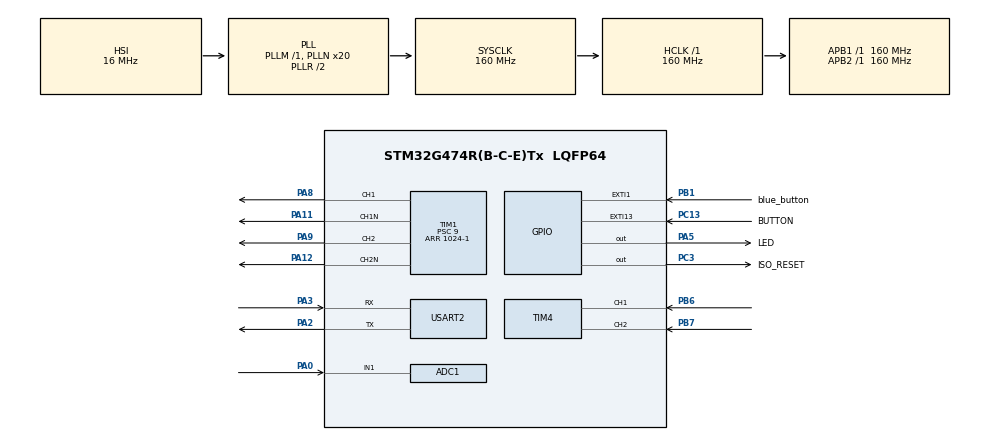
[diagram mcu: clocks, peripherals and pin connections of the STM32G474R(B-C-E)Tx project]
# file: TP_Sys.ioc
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ADC1.Channel-0\#ChannelRegularConversion=ADC_CHANNEL_1
ADC1.DMAContinuousRequests=ENABLE
ADC1.ExternalTrigConv=ADC_EXTERNALTRIG_T1_TRGO
ADC1.NbrOfConversionFlag=1
ADC1.OffsetNumber-0\#ChannelRegularConversion=ADC_OFFSET_NONE
ADC1.Rank-0\#ChannelRegularConversion=1
ADC1.SamplingTime-0\#ChannelRegularConversion=ADC_SAMPLETIME_92CYCLES_5
ADC1.master=1
Dma.ADC1.0.Direction=DMA_PERIPH_TO_MEMORY
Dma.ADC1.0.EventEnable=DISABLE
Dma.ADC1.0.Instance=DMA1_Channel1
Dma.ADC1.0.MemDataAlignment=DMA_MDATAALIGN_HALFWORD
Dma.ADC1.0.MemInc=DMA_MINC_ENABLE
Dma.ADC1.0.Mode=DMA_CIRCULAR
Dma.ADC1.0.PeriphDataAlignment=DMA_PDATAALIGN_HALFWORD
Dma.ADC1.0.PeriphInc=DMA_PINC_DISABLE
Dma.ADC1.0.Polarity=HAL_DMAMUX_REQ_GEN_RISING
Dma.ADC1.0.Priority=DMA_PRIORITY_LOW
Dma.ADC1.0.RequestNumber=1
Dma.ADC1.0.SignalID=NONE
Dma.ADC1.0.SyncEnable=DISABLE
Dma.ADC1.0.SyncPolarity=HAL_DMAMUX_SYNC_NO_EVENT
Dma.ADC1.0.SyncRequestNumber=1
Dma.ADC1.0.SyncSignalID=NONE
Dma.Request0=ADC1
Mcu.Family=STM32G4
Mcu.Name=STM32G474R(B-C-E)Tx
Mcu.Package=LQFP64
NVIC.DMA1_Channel1_IRQn=true\:0\:0\:false\:false\:true\:false\:true\:true
NVIC.EXTI15_10_IRQn=true\:0\:0\:false\:false\:true\:true\:true\:true
NVIC.EXTI1_IRQn=true\:0\:0\:false\:false\:true\:true\:true\:true
NVIC.PriorityGroup=NVIC_PRIORITYGROUP_4
NVIC.TIM1_UP_TIM16_IRQn=true\:0\:0\:false\:false\:true\:true\:true\:true
NVIC.TIM3_IRQn=true\:0\:0\:false\:false\:true\:true\:true\:true
NVIC.USART2_IRQn=true\:0\:0\:false\:false\:true\:true\:true\:true
PA0.Mode=IN1-Single-Ended
PA0.Signal=ADC1_IN1
PA11.Mode=PWM Generation1 CH1 CH1N
PA11.Signal=TIM1_CH1N
PA12.Mode=PWM Generation2 CH2 CH2N
PA12.Signal=TIM1_CH2N
PA13.GPIO_Label=T_SWDIO
PA13.Mode=Serial_Wire
PA13.Signal=SYS_JTMS-SWDIO
PA14.GPIO_Label=T_SWCLK
PA14.Mode=Serial_Wire
PA14.Signal=SYS_JTCK-SWCLK
PA2.Mode=Asynchronous
PA2.Signal=USART2_TX
PA3.Mode=Asynchronous
PA3.Signal=USART2_RX
PA5.GPIO_Label=LED
PA5.Signal=GPIO_Output
PA8.Signal=S_TIM1_CH1
PA9.Signal=S_TIM1_CH2
PB1.GPIO_Label=blue_button
PB1.Signal=GPXTI1
PB6.Signal=S_TIM4_CH1
PB7.Signal=S_TIM4_CH2
PC13.GPIO_Label=BUTTON
PC13.Signal=GPXTI13
PC14-OSC32_IN.Mode=LSE-External-Oscillator
PC14-OSC32_IN.Signal=RCC_OSC32_IN
PC15-OSC32_OUT.Mode=LSE-External-Oscillator
PC15-OSC32_OUT.Signal=RCC_OSC32_OUT
PC3.GPIO_Label=ISO_RESET
PC3.Signal=GPIO_Output
PF0-OSC_IN.Mode=HSE-External-Oscillator
PF0-OSC_IN.Signal=RCC_OSC_IN
PF1-OSC_OUT.Mode=HSE-External-Oscillator
PF1-OSC_OUT.Signal=RCC_OSC_OUT
ProjectManager.HeapSize=0x200
ProjectManager.StackSize=0x400
ProjectManager.TargetToolchain=STM32CubeIDE
RCC.ADC12Freq_Value=160000000
RCC.ADC345Freq_Value=160000000
RCC.AHBFreq_Value=160000000
RCC.APB1Freq_Value=160000000
RCC.APB1TimFreq_Value=160000000
RCC.APB2Freq_Value=160000000
RCC.APB2TimFreq_Value=160000000
RCC.CortexFreq_Value=160000000
RCC.EXTERNAL_CLOCK_VALUE=12288000
RCC.HCLKFreq_Value=160000000
RCC.HSE_VALUE=24000000
RCC.HSI48_VALUE=48000000
RCC.HSI_VALUE=16000000
RCC.PLLN=20
RCC.RTCClockSelection=RCC_RTCCLKSOURCE_LSE
RCC.SYSCLKFreq_VALUE=160000000
RCC.SYSCLKSource=RCC_SYSCLKSOURCE_PLLCLK
RCC.USBFreq_Value=160000000
RCC.VCOOutputFreq_Value=320000000
SH.S_TIM1_CH1.0=TIM1_CH1,PWM Generation1 CH1 CH1N
SH.S_TIM1_CH2.0=TIM1_CH2,PWM Generation2 CH2 CH2N
SH.S_TIM4_CH1.0=TIM4_CH1,Encoder_Interface
SH.S_TIM4_CH2.0=TIM4_CH2,Encoder_Interface
TIM1.AutoReloadPreload=TIM_AUTORELOAD_PRELOAD_ENABLE
TIM1.Channel-PWM\ Generation1\ CH1\ CH1N=TIM_CHANNEL_1
TIM1.Channel-PWM\ Generation2\ CH2\ CH2N=TIM_CHANNEL_2
TIM1.CounterMode=TIM_COUNTERMODE_CENTERALIGNED1
TIM1.DeadTime=200
TIM1.PeriodNoDither=1024-1
TIM1.Prescaler=9
TIM1.PulseNoDither_1=512
TIM1.PulseNoDither_2=512
TIM1.TIM_MasterOutputTrigger=TIM_TRGO_UPDATE
TIM1.TIM_MasterSlaveMode=TIM_MASTERSLAVEMODE_ENABLE
TIM3.PeriodNoDither=5000-1
TIM3.Prescaler=3200-1
USART2.VirtualMode-Asynchronous=VM_ASYNC
VP_SYS_VS_DBSignals.Mode=DisableDeadBatterySignals
VP_TIM1_VS_ClockSourceINT.Mode=Internal
VP_TIM3_VS_ClockSourceINT.Mode=Internal
board=NUCLEO-G474RE

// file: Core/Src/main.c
/* USER CODE BEGIN Header */
/**
  ******************************************************************************
  * @file           : main.c
  * @brief          : Main program body
  * @author			: Clément Chapuis & Aurélien Sutra
  * @date			: Date du dernier commit&push : 03/01/2023
  ******************************************************************************
  * @attention
  *
  * Copyright (c) 2022 STMicroelectronics.
  * All rights reserved.
  *
  * This software is licensed under terms that can be found in the LICENSE file
  * in the root directory of this software component.
  * If no LICENSE file comes with this software, it is provided AS-IS.
  *
  ******************************************************************************
  */
/* USER CODE END Header */
#include "main.h"

ADC_HandleTypeDef hadc1;
DMA_HandleTypeDef hdma_adc1;

TIM_HandleTypeDef htim1;
TIM_HandleTypeDef htim3;
TIM_HandleTypeDef htim4;

UART_HandleTypeDef huart2;

/* USER CODE BEGIN PV */
uint8_t prompt[]="user@Nucleo-STM32G474>>";
uint8_t started[]=
		"\r\n*-----------------------------*"
		"\r\n| Welcome on Nucleo-STM32G474 |"
		"\r\n*-----------------------------*"
		"\r\n";
uint8_t newline[]="\r\n";
uint8_t cmdNotFound[]="Command not found\r\n";
uint32_t uartRxReceived;
uint8_t uartRxBuffer[UART_RX_BUFFER_SIZE];
uint8_t uartTxBuffer[UART_TX_BUFFER_SIZE];
uint8_t powerOn[]="Allumage du moteur\r\n";
uint8_t powerOff[]="Extinction du moteur\r\n";

uint32_t adcBuffer[ADC_BUFFER_SIZE];

//SHELL_____________________________________________________________________
	char	 	cmdBuffer[CMD_BUFFER_SIZE];
	int 		idx_cmd;
	char* 		argv[MAX_ARGS];
	int		 	argc = 0;
	char*		token;
	int 		newCmdReady = 0;
	int 		abs_speed = 50;

int adcDMAFlag = 0;
int it_tim3 = 0;
int it_tim1 = 0;

int enc = 0;
int speed = 0;
int inc = 0;
float targetcur;
char pi_buffer[256];

PIController pi = {PI_KP, PI_KI, PI_LIM_MIN, PI_LIM_MAX, PI_LIM_MIN_INT, PI_LIM_MAX_INT, SAMPLE_TIME_S};

/* USER CODE END PV */

void SystemClock_Config(void);
static void MX_GPIO_Init(void);
static void MX_DMA_Init(void);
static void MX_TIM1_Init(void);
static void MX_USART2_UART_Init(void);
static void MX_ADC1_Init(void);
static void MX_TIM3_Init(void);
static void MX_TIM4_Init(void);

/* USER CODE BEGIN 0 */

/**
  * @brief  	This function makes the initialization for the PI controller.
  * @param[in]	PIController	The structure for all the PI parameters
  * @retval 	None
*/
void newcom(void)
{
	HAL_UART_Transmit(&huart2, newline, sizeof(newline), HAL_MAX_DELAY);
	//select();
	cmdBuffer[idx_cmd] = '\0';
	argc = 0;
	token = strtok(cmdBuffer, " ");
	while(token!=NULL){
		argv[argc++] = token;
	  	token = strtok(NULL, " ");
	}

	idx_cmd = 0;
	newCmdReady = 1;
}

/**
  * @brief  	This function allows us the delete letters in the shell
  * @param[in]	None
  * @retval 	None
*/
void delete(void)
{
	cmdBuffer[idx_cmd--] = '\0';
	HAL_UART_Transmit(&huart2, uartRxBuffer, UART_RX_BUFFER_SIZE, HAL_MAX_DELAY);
}

/**
  * @brief  	This function allows us to write a new letter in the shell.
  * @param[in]	None
  * @retval 	None
*/
void new_carac(void)
{
	cmdBuffer[idx_cmd++] = uartRxBuffer[0];
	HAL_UART_Transmit(&huart2, uartRxBuffer, UART_RX_BUFFER_SIZE, HAL_MAX_DELAY);//Echo
}

/**
  * @brief  	This function writes a message in the shell in the case the command is not found.
  * @param[in]	None
  * @retval 	None
*/
void get(void)
{
	HAL_UART_Transmit(&huart2, cmdNotFound, sizeof(cmdNotFound), HAL_MAX_DELAY);
}

/**
  * @brief  	This function switch on/off the led if the user writes PA5.
  * @param[in]	None
  * @retval 	None
*/
void set(void)
{
	if(strcmp(argv[1],"PA5")==0)
	{
		HAL_GPIO_WritePin(LED_GPIO_Port, LED_Pin, atoi(argv[2]));
		sprintf((char *)uartTxBuffer,"Switch on/off led : %d\r\n",atoi(argv[2]));
		HAL_UART_Transmit(&huart2, uartTxBuffer, 32, HAL_MAX_DELAY);
	}
	else{
	  	HAL_UART_Transmit(&huart2, cmdNotFound, sizeof(cmdNotFound), HAL_MAX_DELAY);
	}
}

/**
  * @brief  	This function displays all the usable functions for the user.
  * @param[in]	None
  * @retval 	None
*/
void help(void)
{
	sprintf((char *)uartTxBuffer, "HELP : Fonctions available :\r\n");
	HAL_UART_Transmit(&huart2, uartTxBuffer, sizeof(uartTxBuffer), HAL_MAX_DELAY);
	sprintf((char *)uartTxBuffer, "- pinout : affiche toutes les broches connectées\r\n");
	HAL_UART_Transmit(&huart2, uartTxBuffer, sizeof(uartTxBuffer), HAL_MAX_DELAY);
	sprintf((char *)uartTxBuffer, "- start : allume l'étage de puissance du moteur\r\n");
	HAL_UART_Transmit(&huart2, uartTxBuffer, sizeof(uartTxBuffer), HAL_MAX_DELAY);
	sprintf((char *)uartTxBuffer, "- speed : règle la vitesse du moteur\r\n");
	HAL_UART_Transmit(&huart2, uartTxBuffer, sizeof(uartTxBuffer), HAL_MAX_DELAY);
	sprintf((char *)uartTxBuffer, "- stop : éteind l'étage de puissance du moteur\r\n");
	HAL_UART_Transmit(&huart2, uartTxBuffer, sizeof(uartTxBuffer), HAL_MAX_DELAY);
	sprintf((char *)uartTxBuffer, "- current : valeur du courant en ampère pour l'asser\r\n");
	HAL_UART_Transmit(&huart2, uartTxBuffer, sizeof(uartTxBuffer), HAL_MAX_DELAY);
}

/**
  * @brief  	This function shows all the connections for the pinouts.
  * @param[in]	None
  * @retval 	None
*/
void pinout(void)
{
	sprintf((char *)uartTxBuffer, "Les broches connectées sont les suivantes :\r\n");
	HAL_UART_Transmit(&huart2, uartTxBuffer, sizeof(uartTxBuffer), HAL_MAX_DELAY);
	sprintf((char *)uartTxBuffer, "- TIM1_CH2N : PA12 / CN10-12 -> PIN12\r\n");
	HAL_UART_Transmit(&huart2, uartTxBuffer, sizeof(uartTxBuffer), HAL_MAX_DELAY);
	sprintf((char *)uartTxBuffer, "- TIM1_CH1N : PA11 / CN10-14 -> PIN13\r\n");
	HAL_UART_Transmit(&huart2, uartTxBuffer, sizeof(uartTxBuffer), HAL_MAX_DELAY);
	sprintf((char *)uartTxBuffer, "- TIM1_CH2 : PA9 / CN9-21 -> PIN30\r\n");
	HAL_UART_Transmit(&huart2, uartTxBuffer, sizeof(uartTxBuffer), HAL_MAX_DELAY);
	sprintf((char *)uartTxBuffer, "- TIM1_CH1 : PA8 / CN9-23 -> PIN31\r\n");
	HAL_UART_Transmit(&huart2, uartTxBuffer, sizeof(uartTxBuffer), HAL_MAX_DELAY);
	sprintf((char *)uartTxBuffer, "- ISO_Reset : PC3 / CN7-37 -> PIN33\r\n");
	HAL_UART_Transmit(&huart2, uartTxBuffer, sizeof(uartTxBuffer), HAL_MAX_DELAY);
	sprintf((char *)uartTxBuffer, "- ADC1_IN1 : PA0 / CN8-1 -> PIN16\r\n");
	HAL_UART_Transmit(&huart2, uartTxBuffer, sizeof(uartTxBuffer), HAL_MAX_DELAY);
	sprintf((char *)uartTxBuffer, "- TIM4_CH1 : PB8 / CN5-10 -> PINA\r\n");
	HAL_UART_Transmit(&huart2, uartTxBuffer, sizeof(uartTxBuffer), HAL_MAX_DELAY);
	sprintf((char *)uartTxBuffer, "- TIM4_CH2 : PB7 / CN7-21 -> PINB\r\n");
	HAL_UART_Transmit(&huart2, uartTxBuffer, sizeof(uartTxBuffer), HAL_MAX_DELAY);
}

/**
  * @brief  	This function makes the initialization for the chopper, the PWM for the motor and the initialization for the encoder.
  * @param[in]	None
  * @retval 	None
*/
void start(void)
{
	//séquence d'initialisation
	HAL_GPIO_WritePin(ISO_RESET_GPIO_Port, ISO_RESET_Pin, SET);
	HAL_Delay(1);
	HAL_GPIO_WritePin(ISO_RESET_GPIO_Port, ISO_RESET_Pin, RESET);
	//commande PWM
	HAL_TIM_Base_Start(&htim1);
	HAL_TIM_PWM_Start(&htim1, TIM_CHANNEL_1);
	HAL_TIMEx_PWMN_Start(&htim1, TIM_CHANNEL_1);
	HAL_TIM_PWM_Start(&htim1, TIM_CHANNEL_2);
	HAL_TIMEx_PWMN_Start(&htim1, TIM_CHANNEL_2);

	//encodeur initialisé avec 2 channels
	HAL_TIM_Encoder_Start(&htim4, TIM_CHANNEL_ALL);

	HAL_UART_Transmit(&huart2, powerOn, sizeof(powerOn), HAL_MAX_DELAY);
}

/**
  * @brief  	This function makes the initialization for the PI controller.
  * @param[in]	None
  * @retval 	None
*/
void stop(void)
{
	HAL_UART_Transmit(&huart2, powerOff, sizeof(powerOff), HAL_MAX_DELAY);
	HAL_TIM_Base_Stop(&htim1);
	HAL_TIM_PWM_Stop(&htim1, TIM_CHANNEL_1);
	HAL_TIM_PWM_Stop(&htim1, TIM_CHANNEL_2);
	HAL_TIMEx_PWMN_Stop(&htim1, TIM_CHANNEL_1);
	HAL_TIMEx_PWMN_Stop(&htim1, TIM_CHANNEL_2);
}

/**
  * @brief  	This function allows the user to set the motor speed.
  * @param[in]	vit	The speed wanted by the user (0-49 in one direction, 51-100 in the other, 50 the motor doesn't turn)
  * @retval 	None
*/
void set_speed(char* vit)
{
	int speed = (ARR_VAL*atoi(vit))/100;
	TIM1->CCR1=ARR_VAL-speed;
	TIM1->CCR2=speed;
}

/**
  * @brief  	This function read the encoder value.
  * @param[in]	None
  * @retval 	None
*/
void read_enc(void)
{
	enc = TIM4->CNT;
}

/**
  * @brief  	This function read the value of the speed (measured by the encoder).
  * @param[in]	None
  * @retval 	None
*/
void read_speed(void)
{
	speed = (TIM4->CNT) - (VAL_MAX/2);
	TIM4->CNT = VAL_MAX/2;
}

/**
  * @brief  	This function makes the conversion for the current value for the motor and its enslavement.
  * @param[in]	set_cur	The value of current the user wants for the motor enslavement
  * @retval 	None
*/
void set_current(char* set_cur)
{
	targetcur = (float)atof(set_cur);
}

/**
  * @brief  	This function make the measure of the current for the current enslavement.
  * @param[in]	None
  * @retval 	None
*/
float get_current()
{
	return ((((float)adcBuffer[0])*3.3/4096)-2.53)*12;
}

/**
  * @brief  	This function shows all the data needed from the motor for this project: current value, encoder value and speed value.
  * @param[in]	None
  * @retval 	None
*/
void data(void)
{
	sprintf((char *)uartTxBuffer, "{ADC_0 Value : %1.5f}\r\n", ((((float)adcBuffer[0])*3.3/4096)-2.53)*12);
	HAL_UART_Transmit(&huart2, uartTxBuffer, strlen((char*) uartTxBuffer)*sizeof(char), HAL_MAX_DELAY);
	adcDMAFlag = 0;

	read_enc();
	sprintf((char *)uartTxBuffer, "ENC Value : %d\r\n", enc);
	HAL_UART_Transmit(&huart2, uartTxBuffer, strlen((char*) uartTxBuffer)*sizeof(char), HAL_MAX_DELAY);

	read_speed();
	sprintf((char *)uartTxBuffer, "Speed Value : %f\r\n", (float)speed*0.0302);
	HAL_UART_Transmit(&huart2, uartTxBuffer, strlen((char*) uartTxBuffer)*sizeof(char), HAL_MAX_DELAY);
}

/**
  * @brief  	The function which generate the interruptions.
  * @param[in]	htim	timer adress
  * @retval 	None
*/
void HAL_TIM_PeriodElapsedCallback(TIM_HandleTypeDef *htim)
{
	/*if(htim==&htim3)
	{
		sprintf((char *)uartTxBuffer, "{ADC_0 Value : %1.5f}\r\n", ((((float)adcBuffer[0])*3.3/4096)-2.53)*12);
		HAL_UART_Transmit(&huart2, uartTxBuffer, strlen((char*) uartTxBuffer)*sizeof(char), HAL_MAX_DELAY);
		adcDMAFlag = 0;

		read_enc();
		sprintf((char *)uartTxBuffer, "ENC Value : %d\r\n", enc);
		HAL_UART_Transmit(&huart2, uartTxBuffer, strlen((char*) uartTxBuffer)*sizeof(char), HAL_MAX_DELAY);

		read_speed();
		sprintf((char *)uartTxBuffer, "Speed Value : %f\r\n", (float)speed*0.0302);
		HAL_UART_Transmit(&huart2, uartTxBuffer, strlen((char*) uartTxBuffer)*sizeof(char), HAL_MAX_DELAY);
	}*/

	if(htim==&htim1)
	{
		it_tim1 = 1;
	}
}

/* USER CODE END 0 */

int main(void)
{

  /* MCU Configuration--------------------------------------------------------*/

  /* Reset of all peripherals, Initializes the Flash interface and the Systick. */
  HAL_Init();

  /* Configure the system clock */
  SystemClock_Config();

  /* Initialize all configured peripherals */
  MX_GPIO_Init();
  MX_DMA_Init();
  MX_TIM1_Init();
  MX_USART2_UART_Init();
  MX_ADC1_Init();
  MX_TIM3_Init();
  MX_TIM4_Init();
  /* USER CODE BEGIN 2 */
  PIController_Init(&pi);

  memset(argv,0,MAX_ARGS*sizeof(char*));
  memset(cmdBuffer,0,CMD_BUFFER_SIZE*sizeof(char));
  memset(uartRxBuffer,0,UART_RX_BUFFER_SIZE*sizeof(char));
  memset(uartTxBuffer,0,UART_TX_BUFFER_SIZE*sizeof(char));

  HAL_UART_Receive_IT(&huart2, uartRxBuffer, UART_RX_BUFFER_SIZE);
  HAL_Delay(10);
  HAL_UART_Transmit(&huart2, started, sizeof(started), HAL_MAX_DELAY);
  HAL_UART_Transmit(&huart2, prompt, sizeof(prompt), HAL_MAX_DELAY);

  HAL_ADCEx_Calibration_Start(&hadc1, ADC_SINGLE_ENDED);
  HAL_ADC_Start_DMA(&hadc1, adcBuffer, 1);
  HAL_TIM_Base_Start_IT(&htim1);
  HAL_TIM_Base_Start_IT(&htim3);
  HAL_TIM_Base_Start_IT(&htim4);
  /* USER CODE END 2 */

  /* Infinite loop */
  /* USER CODE BEGIN WHILE */
  while (1)
    {
  	  // uartRxReceived is set to 1 when a new character is received on uart 1
  	  	  if(uartRxReceived){
  	  		  switch(uartRxBuffer[0]){
  	  		  // Nouvelle ligne, instruction à traiter
  	  		  case ASCII_CR:
  	  			  newcom();
  	  			  break;
  	  		  // Suppression du dernier caractère
  	  		  case ASCII_DEL:
  	  			  delete();
  	  			  break;
  	  	      // Nouveau caractère
  	  		  default:
  	  			  new_carac();
  	  		  }
  	  		  uartRxReceived = 0;
  	  	  }

  	  	  if(newCmdReady){
  	  		  if(strcmp(argv[0],"set")==0){
  	  			  set();
  	  		  }
  	  		  else if(strcmp(argv[0],"get")==0)
  	  		  {
  	  			  get();
  	  		  }
  	  		  else if(strcmp(argv[0],"help")==0)
  	  		  {
  	  			  help();
  	  	      }
  	  		  else if(strcmp(argv[0],"pinout")==0)
			  {
				  pinout();
			  }
  	  		  else if(strcmp(argv[0],"start")==0)
  	  		  {
  	  			  start();
  	  		  }
  	  		  else if(strcmp(argv[0],"speed")==0)
  	  		  {
  	  			  set_speed(argv[1]);
  	  		  }
  	  		  else if(strcmp(argv[0],"stop")==0)
  	  		  {
  	  		  	  stop();
  	  		  }
  	  		  else if(strcmp(argv[0],"current")==0)
  	  		  {
  	  		  	  set_current(argv[1]);
  	  		  }
  	  		  else{
  	  			  HAL_UART_Transmit(&huart2, cmdNotFound, sizeof(cmdNotFound), HAL_MAX_DELAY);
  	  		  }
  	  			  HAL_UART_Transmit(&huart2, prompt, sizeof(prompt), HAL_MAX_DELAY);
  	  			  newCmdReady = 0;
  	  			  memset(cmdBuffer,0,CMD_BUFFER_SIZE*sizeof(char));
  	  	  }

  	  	  if(it_tim1)
  	  	 	  {
				  PIController_Update(&pi, targetcur, get_current());
				  set_speed(itoa(pi.out*100, pi_buffer, 10));
				  it_tim1 = 0;
  	  	 	  }

    /* USER CODE END WHILE */

  }
}

void SystemClock_Config(void)
{
  RCC_OscInitTypeDef RCC_OscInitStruct = {0};
  RCC_ClkInitTypeDef RCC_ClkInitStruct = {0};

  /** Configure the main internal regulator output voltage
  */
  HAL_PWREx_ControlVoltageScaling(PWR_REGULATOR_VOLTAGE_SCALE1_BOOST);

  /** Initializes the RCC Oscillators according to the specified parameters
  * in the RCC_OscInitTypeDef structure.
  */
  RCC_OscInitStruct.OscillatorType = RCC_OSCILLATORTYPE_HSI;
  RCC_OscInitStruct.HSIState = RCC_HSI_ON;
  RCC_OscInitStruct.HSICalibrationValue = RCC_HSICALIBRATION_DEFAULT;
  RCC_OscInitStruct.PLL.PLLState = RCC_PLL_ON;
  RCC_OscInitStruct.PLL.PLLSource = RCC_PLLSOURCE_HSI;
  RCC_OscInitStruct.PLL.PLLM = RCC_PLLM_DIV1;
  RCC_OscInitStruct.PLL.PLLN = 20;
  RCC_OscInitStruct.PLL.PLLP = RCC_PLLP_DIV2;
  RCC_OscInitStruct.PLL.PLLQ = RCC_PLLQ_DIV2;
  RCC_OscInitStruct.PLL.PLLR = RCC_PLLR_DIV2;
  if (HAL_RCC_OscConfig(&RCC_OscInitStruct) != HAL_OK)
  {
    Error_Handler();
  }

  /** Initializes the CPU, AHB and APB buses clocks
  */
  RCC_ClkInitStruct.ClockType = RCC_CLOCKTYPE_HCLK|RCC_CLOCKTYPE_SYSCLK
                              |RCC_CLOCKTYPE_PCLK1|RCC_CLOCKTYPE_PCLK2;
  RCC_ClkInitStruct.SYSCLKSource = RCC_SYSCLKSOURCE_PLLCLK;
  RCC_ClkInitStruct.AHBCLKDivider = RCC_SYSCLK_DIV1;
  RCC_ClkInitStruct.APB1CLKDivider = RCC_HCLK_DIV1;
  RCC_ClkInitStruct.APB2CLKDivider = RCC_HCLK_DIV1;

  if (HAL_RCC_ClockConfig(&RCC_ClkInitStruct, FLASH_LATENCY_4) != HAL_OK)
  {
    Error_Handler();
  }
}

static void MX_ADC1_Init(void)
{

  ADC_MultiModeTypeDef multimode = {0};
  ADC_ChannelConfTypeDef sConfig = {0};

  /** Common config
  */
  hadc1.Instance = ADC1;
  hadc1.Init.ClockPrescaler = ADC_CLOCK_SYNC_PCLK_DIV4;
  hadc1.Init.Resolution = ADC_RESOLUTION_12B;
  hadc1.Init.DataAlign = ADC_DATAALIGN_RIGHT;
  hadc1.Init.GainCompensation = 0;
  hadc1.Init.ScanConvMode = ADC_SCAN_DISABLE;
  hadc1.Init.EOCSelection = ADC_EOC_SINGLE_CONV;
  hadc1.Init.LowPowerAutoWait = DISABLE;
  hadc1.Init.ContinuousConvMode = DISABLE;
  hadc1.Init.NbrOfConversion = 1;
  hadc1.Init.DiscontinuousConvMode = DISABLE;
  hadc1.Init.ExternalTrigConv = ADC_EXTERNALTRIG_T1_TRGO;
  hadc1.Init.ExternalTrigConvEdge = ADC_EXTERNALTRIGCONVEDGE_RISING;
  hadc1.Init.DMAContinuousRequests = ENABLE;
  hadc1.Init.Overrun = ADC_OVR_DATA_PRESERVED;
  hadc1.Init.OversamplingMode = DISABLE;
  if (HAL_ADC_Init(&hadc1) != HAL_OK)
  {
    Error_Handler();
  }

  /** Configure the ADC multi-mode
  */
  multimode.Mode = ADC_MODE_INDEPENDENT;
  if (HAL_ADCEx_MultiModeConfigChannel(&hadc1, &multimode) != HAL_OK)
  {
    Error_Handler();
  }

  /** Configure Regular Channel
  */
  sConfig.Channel = ADC_CHANNEL_1;
  sConfig.Rank = ADC_REGULAR_RANK_1;
  sConfig.SamplingTime = ADC_SAMPLETIME_92CYCLES_5;
  sConfig.SingleDiff = ADC_SINGLE_ENDED;
  sConfig.OffsetNumber = ADC_OFFSET_NONE;
  sConfig.Offset = 0;
  if (HAL_ADC_ConfigChannel(&hadc1, &sConfig) != HAL_OK)
  {
    Error_Handler();
  }

}

static void MX_TIM1_Init(void)
{

  TIM_ClockConfigTypeDef sClockSourceConfig = {0};
  TIM_MasterConfigTypeDef sMasterConfig = {0};
  TIM_OC_InitTypeDef sConfigOC = {0};
  TIM_BreakDeadTimeConfigTypeDef sBreakDeadTimeConfig = {0};

  htim1.Instance = TIM1;
  htim1.Init.Prescaler = 9;
  htim1.Init.CounterMode = TIM_COUNTERMODE_CENTERALIGNED1;
  htim1.Init.Period = 1023;
  htim1.Init.ClockDivision = TIM_CLOCKDIVISION_DIV1;
  htim1.Init.RepetitionCounter = 0;
  htim1.Init.AutoReloadPreload = TIM_AUTORELOAD_PRELOAD_ENABLE;
  if (HAL_TIM_Base_Init(&htim1) != HAL_OK)
  {
    Error_Handler();
  }
  sClockSourceConfig.ClockSource = TIM_CLOCKSOURCE_INTERNAL;
  if (HAL_TIM_ConfigClockSource(&htim1, &sClockSourceConfig) != HAL_OK)
  {
    Error_Handler();
  }
  if (HAL_TIM_PWM_Init(&htim1) != HAL_OK)
  {
    Error_Handler();
  }
  sMasterConfig.MasterOutputTrigger = TIM_TRGO_UPDATE;
  sMasterConfig.MasterOutputTrigger2 = TIM_TRGO2_RESET;
  sMasterConfig.MasterSlaveMode = TIM_MASTERSLAVEMODE_ENABLE;
  if (HAL_TIMEx_MasterConfigSynchronization(&htim1, &sMasterConfig) != HAL_OK)
  {
    Error_Handler();
  }
  sConfigOC.OCMode = TIM_OCMODE_PWM1;
  sConfigOC.Pulse = 512;
  sConfigOC.OCPolarity = TIM_OCPOLARITY_HIGH;
  sConfigOC.OCNPolarity = TIM_OCNPOLARITY_HIGH;
  sConfigOC.OCFastMode = TIM_OCFAST_DISABLE;
  sConfigOC.OCIdleState = TIM_OCIDLESTATE_RESET;
  sConfigOC.OCNIdleState = TIM_OCNIDLESTATE_RESET;
  if (HAL_TIM_PWM_ConfigChannel(&htim1, &sConfigOC, TIM_CHANNEL_1) != HAL_OK)
  {
    Error_Handler();
  }
  if (HAL_TIM_PWM_ConfigChannel(&htim1, &sConfigOC, TIM_CHANNEL_2) != HAL_OK)
  {
    Error_Handler();
  }
  sBreakDeadTimeConfig.OffStateRunMode = TIM_OSSR_DISABLE;
  sBreakDeadTimeConfig.OffStateIDLEMode = TIM_OSSI_DISABLE;
  sBreakDeadTimeConfig.LockLevel = TIM_LOCKLEVEL_OFF;
  sBreakDeadTimeConfig.DeadTime = 200;
  sBreakDeadTimeConfig.BreakState = TIM_BREAK_DISABLE;
  sBreakDeadTimeConfig.BreakPolarity = TIM_BREAKPOLARITY_HIGH;
  sBreakDeadTimeConfig.BreakFilter = 0;
  sBreakDeadTimeConfig.BreakAFMode = TIM_BREAK_AFMODE_INPUT;
  sBreakDeadTimeConfig.Break2State = TIM_BREAK2_DISABLE;
  sBreakDeadTimeConfig.Break2Polarity = TIM_BREAK2POLARITY_HIGH;
  sBreakDeadTimeConfig.Break2Filter = 0;
  sBreakDeadTimeConfig.Break2AFMode = TIM_BREAK_AFMODE_INPUT;
  sBreakDeadTimeConfig.AutomaticOutput = TIM_AUTOMATICOUTPUT_DISABLE;
  if (HAL_TIMEx_ConfigBreakDeadTime(&htim1, &sBreakDeadTimeConfig) != HAL_OK)
  {
    Error_Handler();
  }
  HAL_TIM_MspPostInit(&htim1);

}

static void MX_TIM3_Init(void)
{

  TIM_ClockConfigTypeDef sClockSourceConfig = {0};
  TIM_MasterConfigTypeDef sMasterConfig = {0};

  htim3.Instance = TIM3;
  htim3.Init.Prescaler = 3200-1;
  htim3.Init.CounterMode = TIM_COUNTERMODE_UP;
  htim3.Init.Period = 4999;
  htim3.Init.ClockDivision = TIM_CLOCKDIVISION_DIV1;
  htim3.Init.AutoReloadPreload = TIM_AUTORELOAD_PRELOAD_DISABLE;
  if (HAL_TIM_Base_Init(&htim3) != HAL_OK)
  {
    Error_Handler();
  }
  sClockSourceConfig.ClockSource = TIM_CLOCKSOURCE_INTERNAL;
  if (HAL_TIM_ConfigClockSource(&htim3, &sClockSourceConfig) != HAL_OK)
  {
    Error_Handler();
  }
  sMasterConfig.MasterOutputTrigger = TIM_TRGO_RESET;
  sMasterConfig.MasterSlaveMode = TIM_MASTERSLAVEMODE_DISABLE;
  if (HAL_TIMEx_MasterConfigSynchronization(&htim3, &sMasterConfig) != HAL_OK)
  {
    Error_Handler();
  }

}

static void MX_TIM4_Init(void)
{

  TIM_Encoder_InitTypeDef sConfig = {0};
  TIM_MasterConfigTypeDef sMasterConfig = {0};

  htim4.Instance = TIM4;
  htim4.Init.Prescaler = 0;
  htim4.Init.CounterMode = TIM_COUNTERMODE_UP;
  htim4.Init.Period = 65535;
  htim4.Init.ClockDivision = TIM_CLOCKDIVISION_DIV1;
  htim4.Init.AutoReloadPreload = TIM_AUTORELOAD_PRELOAD_DISABLE;
  sConfig.EncoderMode = TIM_ENCODERMODE_TI1;
  sConfig.IC1Polarity = TIM_ICPOLARITY_RISING;
  sConfig.IC1Selection = TIM_ICSELECTION_DIRECTTI;
  sConfig.IC1Prescaler = TIM_ICPSC_DIV1;
  sConfig.IC1Filter = 0;
  sConfig.IC2Polarity = TIM_ICPOLARITY_RISING;
  sConfig.IC2Selection = TIM_ICSELECTION_DIRECTTI;
  sConfig.IC2Prescaler = TIM_ICPSC_DIV1;
  sConfig.IC2Filter = 0;
  if (HAL_TIM_Encoder_Init(&htim4, &sConfig) != HAL_OK)
  {
    Error_Handler();
  }
  sMasterConfig.MasterOutputTrigger = TIM_TRGO_RESET;
  sMasterConfig.MasterSlaveMode = TIM_MASTERSLAVEMODE_DISABLE;
  if (HAL_TIMEx_MasterConfigSynchronization(&htim4, &sMasterConfig) != HAL_OK)
  {
    Error_Handler();
  }

}

static void MX_USART2_UART_Init(void)
{

  huart2.Instance = USART2;
  huart2.Init.BaudRate = 115200;
  huart2.Init.WordLength = UART_WORDLENGTH_8B;
  huart2.Init.StopBits = UART_STOPBITS_1;
  huart2.Init.Parity = UART_PARITY_NONE;
  huart2.Init.Mode = UART_MODE_TX_RX;
  huart2.Init.HwFlowCtl = UART_HWCONTROL_NONE;
  huart2.Init.OverSampling = UART_OVERSAMPLING_16;
  huart2.Init.OneBitSampling = UART_ONE_BIT_SAMPLE_DISABLE;
  huart2.Init.ClockPrescaler = UART_PRESCALER_DIV1;
  huart2.AdvancedInit.AdvFeatureInit = UART_ADVFEATURE_NO_INIT;
  if (HAL_UART_Init(&huart2) != HAL_OK)
  {
    Error_Handler();
  }
  if (HAL_UARTEx_SetTxFifoThreshold(&huart2, UART_TXFIFO_THRESHOLD_1_8) != HAL_OK)
  {
    Error_Handler();
  }
  if (HAL_UARTEx_SetRxFifoThreshold(&huart2, UART_RXFIFO_THRESHOLD_1_8) != HAL_OK)
  {
    Error_Handler();
  }
  if (HAL_UARTEx_DisableFifoMode(&huart2) != HAL_OK)
  {
    Error_Handler();
  }

}

static void MX_DMA_Init(void)
{

  /* DMA controller clock enable */
  __HAL_RCC_DMAMUX1_CLK_ENABLE();
  __HAL_RCC_DMA1_CLK_ENABLE();

  /* DMA interrupt init */
  /* DMA1_Channel1_IRQn interrupt configuration */
  HAL_NVIC_SetPriority(DMA1_Channel1_IRQn, 0, 0);
  HAL_NVIC_EnableIRQ(DMA1_Channel1_IRQn);

}

static void MX_GPIO_Init(void)
{
  GPIO_InitTypeDef GPIO_InitStruct = {0};

  /* GPIO Ports Clock Enable */
  __HAL_RCC_GPIOC_CLK_ENABLE();
  __HAL_RCC_GPIOF_CLK_ENABLE();
  __HAL_RCC_GPIOA_CLK_ENABLE();
  __HAL_RCC_GPIOB_CLK_ENABLE();

  /*Configure GPIO pin Output Level */
  HAL_GPIO_WritePin(ISO_RESET_GPIO_Port, ISO_RESET_Pin, GPIO_PIN_RESET);

  /*Configure GPIO pin Output Level */
  HAL_GPIO_WritePin(LED_GPIO_Port, LED_Pin, GPIO_PIN_RESET);

  /*Configure GPIO pin : BUTTON_Pin */
  GPIO_InitStruct.Pin = BUTTON_Pin;
  GPIO_InitStruct.Mode = GPIO_MODE_IT_RISING;
  GPIO_InitStruct.Pull = GPIO_NOPULL;
  HAL_GPIO_Init(BUTTON_GPIO_Port, &GPIO_InitStruct);

  /*Configure GPIO pin : ISO_RESET_Pin */
  GPIO_InitStruct.Pin = ISO_RESET_Pin;
  GPIO_InitStruct.Mode = GPIO_MODE_OUTPUT_PP;
  GPIO_InitStruct.Pull = GPIO_NOPULL;
  GPIO_InitStruct.Speed = GPIO_SPEED_FREQ_LOW;
  HAL_GPIO_Init(ISO_RESET_GPIO_Port, &GPIO_InitStruct);

  /*Configure GPIO pin : LED_Pin */
  GPIO_InitStruct.Pin = LED_Pin;
  GPIO_InitStruct.Mode = GPIO_MODE_OUTPUT_PP;
  GPIO_InitStruct.Pull = GPIO_NOPULL;
  GPIO_InitStruct.Speed = GPIO_SPEED_FREQ_LOW;
  HAL_GPIO_Init(LED_GPIO_Port, &GPIO_InitStruct);

  /*Configure GPIO pin : blue_button_Pin */
  GPIO_InitStruct.Pin = blue_button_Pin;
  GPIO_InitStruct.Mode = GPIO_MODE_IT_RISING;
  GPIO_InitStruct.Pull = GPIO_NOPULL;
  HAL_GPIO_Init(blue_button_GPIO_Port, &GPIO_InitStruct);

  /* EXTI interrupt init*/
  HAL_NVIC_SetPriority(EXTI1_IRQn, 0, 0);
  HAL_NVIC_EnableIRQ(EXTI1_IRQn);

  HAL_NVIC_SetPriority(EXTI15_10_IRQn, 0, 0);
  HAL_NVIC_EnableIRQ(EXTI15_10_IRQn);

}

/* USER CODE BEGIN 4 */
void HAL_UART_RxCpltCallback (UART_HandleTypeDef * huart){
	uartRxReceived = 1;
	HAL_UART_Receive_IT(&huart2, uartRxBuffer, UART_RX_BUFFER_SIZE);
}

void HAL_ADC_ConvCpltCallback(ADC_HandleTypeDef *hadc)
{
	adcDMAFlag = 1;

}
/* USER CODE END 4 */

void Error_Handler(void)
{
  __disable_irq();
  while (1)
  {
  }
}
